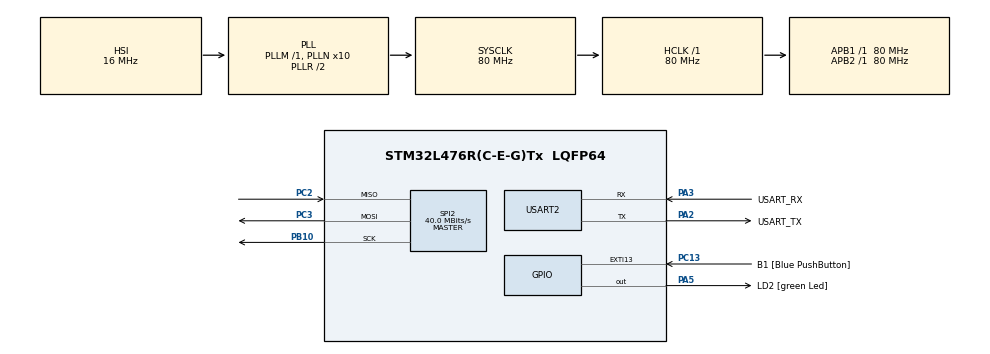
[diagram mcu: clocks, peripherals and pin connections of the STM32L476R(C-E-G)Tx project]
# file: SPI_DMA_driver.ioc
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Mcu.Family=STM32L4
Mcu.Name=STM32L476R(C-E-G)Tx
Mcu.Package=LQFP64
NVIC.PriorityGroup=NVIC_PRIORITYGROUP_4
PA13\ (JTMS-SWDIO).GPIO_Label=TMS
PA13\ (JTMS-SWDIO).Mode=Serial_Wire
PA13\ (JTMS-SWDIO).Signal=SYS_JTMS-SWDIO
PA14\ (JTCK-SWCLK).GPIO_Label=TCK
PA14\ (JTCK-SWCLK).Mode=Serial_Wire
PA14\ (JTCK-SWCLK).Signal=SYS_JTCK-SWCLK
PA2.GPIO_Label=USART_TX
PA2.GPIO_Mode=GPIO_MODE_AF_PP
PA2.GPIO_PuPd=GPIO_NOPULL
PA2.GPIO_Speed=GPIO_SPEED_FREQ_VERY_HIGH
PA2.Mode=Asynchronous
PA2.Signal=USART2_TX
PA3.GPIO_Label=USART_RX
PA3.GPIO_Mode=GPIO_MODE_AF_PP
PA3.GPIO_PuPd=GPIO_NOPULL
PA3.GPIO_Speed=GPIO_SPEED_FREQ_VERY_HIGH
PA3.Mode=Asynchronous
PA3.Signal=USART2_RX
PA5.GPIO_Label=LD2 [green Led]
PA5.GPIO_ModeDefaultOutputPP=GPIO_MODE_OUTPUT_PP
PA5.GPIO_PuPd=GPIO_NOPULL
PA5.GPIO_Speed=GPIO_SPEED_FREQ_LOW
PA5.Signal=GPIO_Output
PB10.Mode=Full_Duplex_Master
PB10.Signal=SPI2_SCK
PB3\ (JTDO-TRACESWO).GPIO_Label=SWO
PB3\ (JTDO-TRACESWO).Signal=SYS_JTDO-SWO
PC13.GPIO_Label=B1 [Blue PushButton]
PC13.GPIO_ModeDefaultEXTI=GPIO_MODE_IT_FALLING
PC13.GPIO_PuPd=GPIO_NOPULL
PC13.Signal=GPXTI13
PC14-OSC32_IN\ (PC14).Mode=LSE-External-Oscillator
PC14-OSC32_IN\ (PC14).Signal=RCC_OSC32_IN
PC15-OSC32_OUT\ (PC15).Mode=LSE-External-Oscillator
PC15-OSC32_OUT\ (PC15).Signal=RCC_OSC32_OUT
PC2.Mode=Full_Duplex_Master
PC2.Signal=SPI2_MISO
PC3.Mode=Full_Duplex_Master
PC3.Signal=SPI2_MOSI
PH0-OSC_IN\ (PH0).Signal=RCC_OSC_IN
PH1-OSC_OUT\ (PH1).Signal=RCC_OSC_OUT
ProjectManager.HeapSize=0x200
ProjectManager.StackSize=0x400
ProjectManager.TargetToolchain=STM32CubeIDE
RCC.ADCFreq_Value=64000000
RCC.AHBFreq_Value=80000000
RCC.APB1Freq_Value=80000000
RCC.APB1TimFreq_Value=80000000
RCC.APB2Freq_Value=80000000
RCC.APB2TimFreq_Value=80000000
RCC.CortexFreq_Value=80000000
RCC.HCLKFreq_Value=80000000
RCC.HSE_VALUE=8000000
RCC.HSI_VALUE=16000000
RCC.MSI_VALUE=4000000
RCC.PLLN=10
RCC.PLLSourceVirtual=RCC_PLLSOURCE_HSI
RCC.PREFETCH_ENABLE=1
RCC.SYSCLKFreq_VALUE=80000000
RCC.SYSCLKSource=RCC_SYSCLKSOURCE_PLLCLK
RCC.USBFreq_Value=64000000
RCC.VCOOutputFreq_Value=160000000
SPI2.CalculateBaudRate=40.0 MBits/s
SPI2.Direction=SPI_DIRECTION_2LINES
SPI2.Mode=SPI_MODE_MASTER
SPI2.VirtualType=VM_MASTER
USART2.VirtualMode-Asynchronous=VM_ASYNC
board=NUCLEO-L476RG

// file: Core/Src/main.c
/* USER CODE BEGIN Header */
/**
  ******************************************************************************
  * @file           : main.c
  * @brief          : Main program body
  ******************************************************************************
  */
/* USER CODE END Header */

#include "main.h"

/* USER CODE BEGIN Includes */
#include <stdio.h>
#include <string.h>
/* USER CODE END Includes */

/* USER CODE BEGIN PD */
#define SPI_DMA_TRANSFER_SIZE   1
/* USER CODE END PD */

SPI_HandleTypeDef hspi2;
UART_HandleTypeDef huart2;
DMA_HandleTypeDef hdma_spi2_rx;
DMA_HandleTypeDef hdma_spi2_tx;

/* USER CODE BEGIN PV */
uint8_t txData[SPI_DMA_TRANSFER_SIZE] = {0x55};
uint8_t rxData[SPI_DMA_TRANSFER_SIZE] = {0};
char msg[100];

volatile uint8_t spiDmaDone = 1;
volatile uint8_t spiDmaError = 0;
/* USER CODE END PV */

void SystemClock_Config(void);
static void MX_GPIO_Init(void);
static void MX_DMA_Init(void);
static void MX_USART2_UART_Init(void);
static void MX_SPI2_Init(void);

/* USER CODE BEGIN PFP */
void UART_Print(char *str);
/* USER CODE END PFP */

/* USER CODE BEGIN 0 */
void UART_Print(char *str)
{
  HAL_UART_Transmit(&huart2, (uint8_t *)str, strlen(str), HAL_MAX_DELAY);
}

void HAL_SPI_TxRxCpltCallback(SPI_HandleTypeDef *hspi)
{
  if (hspi->Instance == SPI2)
  {
    spiDmaDone = 1;
  }
}

void HAL_SPI_ErrorCallback(SPI_HandleTypeDef *hspi)
{
  if (hspi->Instance == SPI2)
  {
    spiDmaError = 1;
    spiDmaDone = 1;
  }
}
/* USER CODE END 0 */

int main(void)
{
  HAL_Init();
  SystemClock_Config();

  MX_GPIO_Init();
  MX_DMA_Init();
  MX_USART2_UART_Init();
  MX_SPI2_Init();

  UART_Print("=== SPI2 DMA Driver Test ===\r\n");
  UART_Print("Connect SPI2 MOSI to SPI2 MISO for loopback test.\r\n\r\n");

  while (1)
  {
    /* Prepare new transfer */
    spiDmaDone = 0;
    spiDmaError = 0;
    rxData[0] = 0;

    /* Start DMA transfer */
    if (HAL_SPI_TransmitReceive_DMA(&hspi2, txData, rxData, SPI_DMA_TRANSFER_SIZE) != HAL_OK)
    {
      UART_Print("SPI DMA Start Failed\r\n");
      HAL_Delay(1000);
      continue;
    }

    /* Wait for DMA completion callback */
    while (spiDmaDone == 0)
    {
      /* CPU can do other light work here if needed */
    }

    /* Check error/completion result */
    if (spiDmaError)
    {
      UART_Print("SPI DMA Error\r\n");
    }
    else
    {
      sprintf(msg, "TX = 0x%02X   RX = 0x%02X\r\n", txData[0], rxData[0]);
      UART_Print(msg);

      HAL_GPIO_TogglePin(LD2_GPIO_Port, LD2_Pin);
      txData[0]++;
    }

    HAL_Delay(1000);
  }
}

void SystemClock_Config(void)
{
  RCC_OscInitTypeDef RCC_OscInitStruct = {0};
  RCC_ClkInitTypeDef RCC_ClkInitStruct = {0};

  if (HAL_PWREx_ControlVoltageScaling(PWR_REGULATOR_VOLTAGE_SCALE1) != HAL_OK)
  {
    Error_Handler();
  }

  RCC_OscInitStruct.OscillatorType = RCC_OSCILLATORTYPE_HSI;
  RCC_OscInitStruct.HSIState = RCC_HSI_ON;
  RCC_OscInitStruct.HSICalibrationValue = RCC_HSICALIBRATION_DEFAULT;
  RCC_OscInitStruct.PLL.PLLState = RCC_PLL_ON;
  RCC_OscInitStruct.PLL.PLLSource = RCC_PLLSOURCE_HSI;
  RCC_OscInitStruct.PLL.PLLM = 1;
  RCC_OscInitStruct.PLL.PLLN = 10;
  RCC_OscInitStruct.PLL.PLLP = RCC_PLLP_DIV7;
  RCC_OscInitStruct.PLL.PLLQ = RCC_PLLQ_DIV2;
  RCC_OscInitStruct.PLL.PLLR = RCC_PLLR_DIV2;

  if (HAL_RCC_OscConfig(&RCC_OscInitStruct) != HAL_OK)
  {
    Error_Handler();
  }

  RCC_ClkInitStruct.ClockType = RCC_CLOCKTYPE_HCLK |
                                RCC_CLOCKTYPE_SYSCLK |
                                RCC_CLOCKTYPE_PCLK1 |
                                RCC_CLOCKTYPE_PCLK2;
  RCC_ClkInitStruct.SYSCLKSource = RCC_SYSCLKSOURCE_PLLCLK;
  RCC_ClkInitStruct.AHBCLKDivider = RCC_SYSCLK_DIV1;
  RCC_ClkInitStruct.APB1CLKDivider = RCC_HCLK_DIV1;
  RCC_ClkInitStruct.APB2CLKDivider = RCC_HCLK_DIV1;

  if (HAL_RCC_ClockConfig(&RCC_ClkInitStruct, FLASH_LATENCY_4) != HAL_OK)
  {
    Error_Handler();
  }
}

static void MX_SPI2_Init(void)
{
  hspi2.Instance = SPI2;
  hspi2.Init.Mode = SPI_MODE_MASTER;
  hspi2.Init.Direction = SPI_DIRECTION_2LINES;
  hspi2.Init.DataSize = SPI_DATASIZE_8BIT;
  hspi2.Init.CLKPolarity = SPI_POLARITY_LOW;
  hspi2.Init.CLKPhase = SPI_PHASE_1EDGE;
  hspi2.Init.NSS = SPI_NSS_SOFT;
  hspi2.Init.BaudRatePrescaler = SPI_BAUDRATEPRESCALER_64;
  hspi2.Init.FirstBit = SPI_FIRSTBIT_MSB;
  hspi2.Init.TIMode = SPI_TIMODE_DISABLE;
  hspi2.Init.CRCCalculation = SPI_CRCCALCULATION_DISABLE;
  hspi2.Init.CRCPolynomial = 7;
  hspi2.Init.CRCLength = SPI_CRC_LENGTH_DATASIZE;
  hspi2.Init.NSSPMode = SPI_NSS_PULSE_DISABLE;

  if (HAL_SPI_Init(&hspi2) != HAL_OK)
  {
    Error_Handler();
  }
}

static void MX_USART2_UART_Init(void)
{
  huart2.Instance = USART2;
  huart2.Init.BaudRate = 115200;
  huart2.Init.WordLength = UART_WORDLENGTH_8B;
  huart2.Init.StopBits = UART_STOPBITS_1;
  huart2.Init.Parity = UART_PARITY_NONE;
  huart2.Init.Mode = UART_MODE_TX_RX;
  huart2.Init.HwFlowCtl = UART_HWCONTROL_NONE;
  huart2.Init.OverSampling = UART_OVERSAMPLING_16;
  huart2.Init.OneBitSampling = UART_ONE_BIT_SAMPLE_DISABLE;
  huart2.AdvancedInit.AdvFeatureInit = UART_ADVFEATURE_NO_INIT;

  if (HAL_UART_Init(&huart2) != HAL_OK)
  {
    Error_Handler();
  }
}

static void MX_DMA_Init(void)
{
  __HAL_RCC_DMA1_CLK_ENABLE();

  HAL_NVIC_SetPriority(DMA1_Channel4_IRQn, 0, 0);
  HAL_NVIC_EnableIRQ(DMA1_Channel4_IRQn);

  HAL_NVIC_SetPriority(DMA1_Channel5_IRQn, 0, 0);
  HAL_NVIC_EnableIRQ(DMA1_Channel5_IRQn);
}

static void MX_GPIO_Init(void)
{
  GPIO_InitTypeDef GPIO_InitStruct = {0};

  __HAL_RCC_GPIOC_CLK_ENABLE();
  __HAL_RCC_GPIOH_CLK_ENABLE();
  __HAL_RCC_GPIOA_CLK_ENABLE();
  __HAL_RCC_GPIOB_CLK_ENABLE();

  HAL_GPIO_WritePin(LD2_GPIO_Port, LD2_Pin, GPIO_PIN_RESET);

  GPIO_InitStruct.Pin = B1_Pin;
  GPIO_InitStruct.Mode = GPIO_MODE_IT_FALLING;
  GPIO_InitStruct.Pull = GPIO_NOPULL;
  HAL_GPIO_Init(B1_GPIO_Port, &GPIO_InitStruct);

  GPIO_InitStruct.Pin = LD2_Pin;
  GPIO_InitStruct.Mode = GPIO_MODE_OUTPUT_PP;
  GPIO_InitStruct.Pull = GPIO_NOPULL;
  GPIO_InitStruct.Speed = GPIO_SPEED_FREQ_LOW;
  HAL_GPIO_Init(LD2_GPIO_Port, &GPIO_InitStruct);
}

void Error_Handler(void)
{
  __disable_irq();
  while (1)
  {
    HAL_GPIO_TogglePin(LD2_GPIO_Port, LD2_Pin);
    HAL_Delay(200);
  }
}
